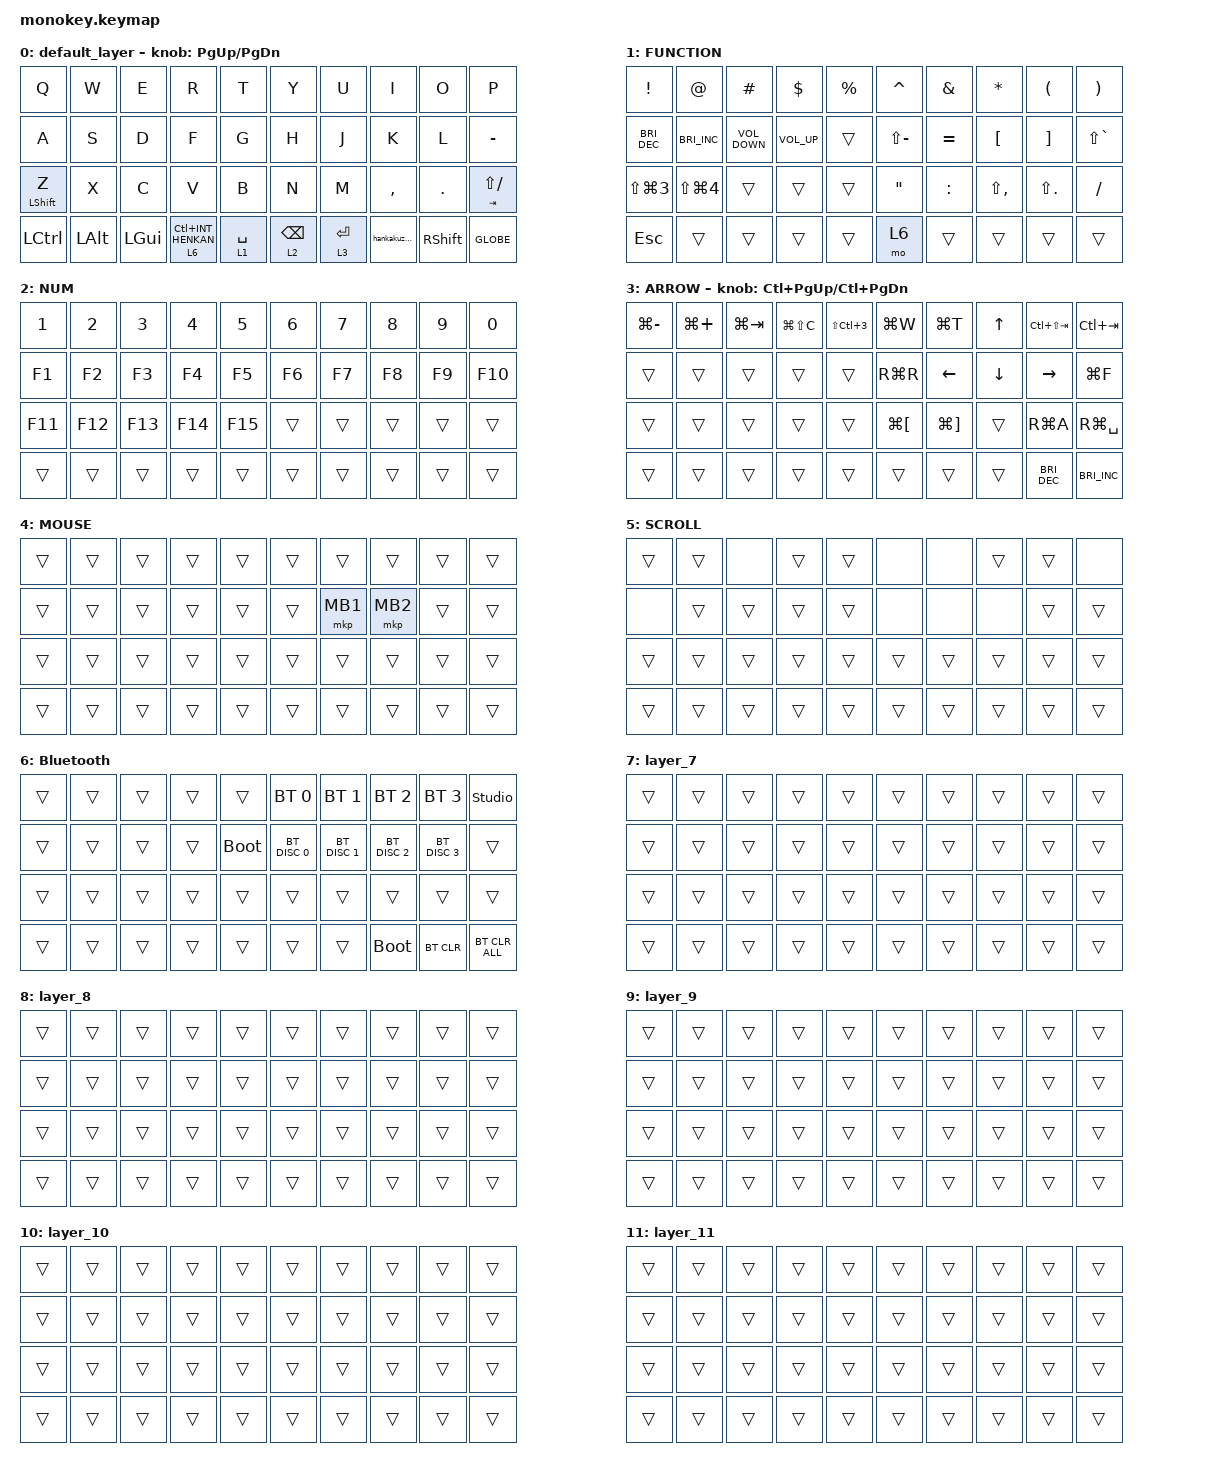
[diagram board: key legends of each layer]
#include <behaviors.dtsi>
#include <dt-bindings/zmk/bt.h>
#include <dt-bindings/zmk/keys.h>
#include <dt-bindings/zmk/pointing.h>

#define MOUSE 4
#define SCROLL 5
#define NUM 6

&mt {
    flavor = "balanced";
    quick-tap-ms = <300>;
};

&lt { quick-tap-ms = <300>; };

/ {
    combos {
        compatible = "zmk,combos";

        scroll {
            bindings = <&mo 5>;
            key-positions = <17 16>;
        };

        mb3 {
            bindings = <&mkp MB3>;
            key-positions = <18 19>;
        };
    };

    behaviors {
        right_click: right_click_behavior {
            compatible = "zmk,behavior-mouse-key";
            label = "RIGHT_CLICK";
            #binding-cells = <0>;

            // 右クリックは通常 MB2 に対応（ZMKの標準定義）

            bindings = <&mkp MB2>;
        };
    };

    macros {
        hankakuzenkaku: hankakuzenkaku {
            compatible = "zmk,behavior-macro";
            #binding-cells = <0>;
            bindings =
                <&macro_press>,
                <&kp LEFT_CONTROL>,
                <&macro_tap>,
                <&kp SPACE>,
                <&macro_release>,
                <&kp LEFT_CONTROL>;

            label = "HANKAKUZENKAKU";
        };

        kakko1: kakko1 {
            compatible = "zmk,behavior-macro";
            #binding-cells = <0>;
            bindings = <&kp LEFT_PARENTHESIS &kp RIGHT_PARENTHESIS &kp LEFT_ARROW>;
            label = "KAKKO1";
        };

        kakko2: kakko2 {
            compatible = "zmk,behavior-macro";
            #binding-cells = <0>;
            bindings = <&kp LEFT_BRACKET &kp RIGHT_BRACKET &kp LEFT_ARROW>;
            label = "KAKKO2";
        };
    };

    keymap {
        compatible = "zmk,keymap";

        default_layer {
            bindings = <
&kp Q             &kp W         &kp E         &kp R                 &kp T                           &kp Y        &kp U            &kp I      &kp O            &kp P
&kp A             &kp S         &kp D         &kp F                 &kp G                           &kp H        &kp J            &kp K      &kp L            &kp MINUS
&mt LEFT_SHIFT Z  &kp X         &kp C         &kp V                 &kp B                           &kp N        &kp M            &kp COMMA  &kp PERIOD       &mt TAB LS(SLASH)
&kp LCTRL         &kp LEFT_ALT  &kp LEFT_GUI  &lt 6 LC(INT_HENKAN)  &lt 1 SPACE  &lt 2 BACKSPACE    &lt 3 ENTER  &hankakuzenkaku             &kp RIGHT_SHIFT  &kp GLOBE
            >;

            sensor-bindings = <&inc_dec_kp PG_UP PAGE_DOWN>;
        };

        FUNCTION {
            bindings = <
&kp EXCLAMATION       &kp AT_SIGN           &kp HASH           &kp DOLLAR       &kp PERCENT           &kp CARET          &kp AMPERSAND  &kp ASTERISK      &kp LEFT_PARENTHESIS  &kp RIGHT_PARENTHESIS
&kp C_BRIGHTNESS_DEC  &kp C_BRIGHTNESS_INC  &kp C_VOLUME_DOWN  &kp C_VOLUME_UP  &trans                &kp LS(MINUS)      &kp EQUAL      &kp LEFT_BRACKET  &kp RIGHT_BRACKET     &kp LS(GRAVE)
&kp LS(LG(NUMBER_3))  &kp LS(LG(NUMBER_4))  &trans             &trans           &trans                &kp DOUBLE_QUOTES  &kp COLON      &kp LS(COMMA)     &kp LS(PERIOD)        &kp SLASH
&kp ESCAPE            &trans                &trans             &trans           &trans       &mo 6    &trans             &trans                           &trans                &trans
            >;
        };

        NUM {
            bindings = <
&kp NUMBER_1  &kp NUMBER_2  &kp NUMBER_3  &kp NUMBER_4  &kp NUMBER_5            &kp NUMBER_6  &kp NUMBER_7  &kp NUMBER_8  &kp NUMBER_9  &kp NUMBER_0
&kp F1        &kp F2        &kp F3        &kp F4        &kp F5                  &kp F6        &kp F7        &kp F8        &kp F9        &kp F10
&kp F11       &kp F12       &kp F13       &kp F14       &kp F15                 &trans        &trans        &trans        &trans        &trans
&trans        &trans        &trans        &trans        &trans        &trans    &trans        &trans                      &trans        &trans
            >;
        };

        ARROW {
            bindings = <
&kp LG(MINUS)  &kp LG(PLUS)  &kp LG(TAB)  &kp LG(LS(C))  &kp LS(LC(NUMBER_3))            &kp LG(W)             &kp LG(T)              &kp UP_ARROW    &kp LC(LS(TAB))  &kp LC(TAB)
&trans         &trans        &trans       &trans         &trans                          &kp RG(R)             &kp LEFT_ARROW         &kp DOWN_ARROW  &kp RIGHT_ARROW  &kp LG(F)
&trans         &trans        &trans       &trans         &trans                          &kp LG(LEFT_BRACKET)  &kp LG(RIGHT_BRACKET)  &trans          &kp RG(A)        &kp RG(SPACE)
&trans         &trans        &trans       &trans         &trans                &trans    &trans                &trans                                 &kp C_BRI_DEC    &kp C_BRI_INC
            >;

            sensor-bindings = <&inc_dec_kp LC(PAGE_UP) LC(PAGE_DOWN)>;
        };

        MOUSE {
            bindings = <
&trans  &trans  &trans  &trans  &trans            &trans  &trans    &trans    &trans  &trans
&trans  &trans  &trans  &trans  &trans            &trans  &mkp MB1  &mkp MB2  &trans  &trans
&trans  &trans  &trans  &trans  &trans            &trans  &trans    &trans    &trans  &trans
&trans  &trans  &trans  &trans  &trans  &trans    &trans  &trans              &trans  &trans
            >;
        };

        SCROLL {
            bindings = <
&trans  &trans  &none   &trans  &trans            &none   &none   &trans  &trans  &none
&none   &trans  &trans  &trans  &trans            &none   &none   &none   &trans  &trans
&trans  &trans  &trans  &trans  &trans            &trans  &trans  &trans  &trans  &trans
&trans  &trans  &trans  &trans  &trans  &trans    &trans  &trans          &trans  &trans
            >;
        };

        Bluetooth {
            bindings = <
&trans  &trans  &trans  &trans  &trans                 &bt BT_SEL 0   &bt BT_SEL 1   &bt BT_SEL 2   &bt BT_SEL 3   &studio_unlock
&trans  &trans  &trans  &trans  &bootloader            &bt BT_DISC 0  &bt BT_DISC 1  &bt BT_DISC 2  &bt BT_DISC 3  &trans
&trans  &trans  &trans  &trans  &trans                 &trans         &trans         &trans         &trans         &trans
&trans  &trans  &trans  &trans  &trans       &trans    &trans         &bootloader                   &bt BT_CLR     &bt BT_CLR_ALL
            >;
        };

        layer_7 {
            bindings = <
&trans  &trans  &trans  &trans  &trans            &trans  &trans  &trans  &trans  &trans
&trans  &trans  &trans  &trans  &trans            &trans  &trans  &trans  &trans  &trans
&trans  &trans  &trans  &trans  &trans            &trans  &trans  &trans  &trans  &trans
&trans  &trans  &trans  &trans  &trans  &trans    &trans  &trans          &trans  &trans
            >;
        };

        layer_8 {
            bindings = <
&trans  &trans  &trans  &trans  &trans            &trans  &trans  &trans  &trans  &trans
&trans  &trans  &trans  &trans  &trans            &trans  &trans  &trans  &trans  &trans
&trans  &trans  &trans  &trans  &trans            &trans  &trans  &trans  &trans  &trans
&trans  &trans  &trans  &trans  &trans  &trans    &trans  &trans          &trans  &trans
            >;
        };

        layer_9 {
            bindings = <
&trans  &trans  &trans  &trans  &trans            &trans  &trans  &trans  &trans  &trans
&trans  &trans  &trans  &trans  &trans            &trans  &trans  &trans  &trans  &trans
&trans  &trans  &trans  &trans  &trans            &trans  &trans  &trans  &trans  &trans
&trans  &trans  &trans  &trans  &trans  &trans    &trans  &trans          &trans  &trans
            >;
        };

        layer_10 {
            bindings = <
&trans  &trans  &trans  &trans  &trans            &trans  &trans  &trans  &trans  &trans
&trans  &trans  &trans  &trans  &trans            &trans  &trans  &trans  &trans  &trans
&trans  &trans  &trans  &trans  &trans            &trans  &trans  &trans  &trans  &trans
&trans  &trans  &trans  &trans  &trans  &trans    &trans  &trans          &trans  &trans
            >;
        };

        layer_11 {
            bindings = <
&trans  &trans  &trans  &trans  &trans            &trans  &trans  &trans  &trans  &trans
&trans  &trans  &trans  &trans  &trans            &trans  &trans  &trans  &trans  &trans
&trans  &trans  &trans  &trans  &trans            &trans  &trans  &trans  &trans  &trans
&trans  &trans  &trans  &trans  &trans  &trans    &trans  &trans          &trans  &trans
            >;
        };
    };
};
